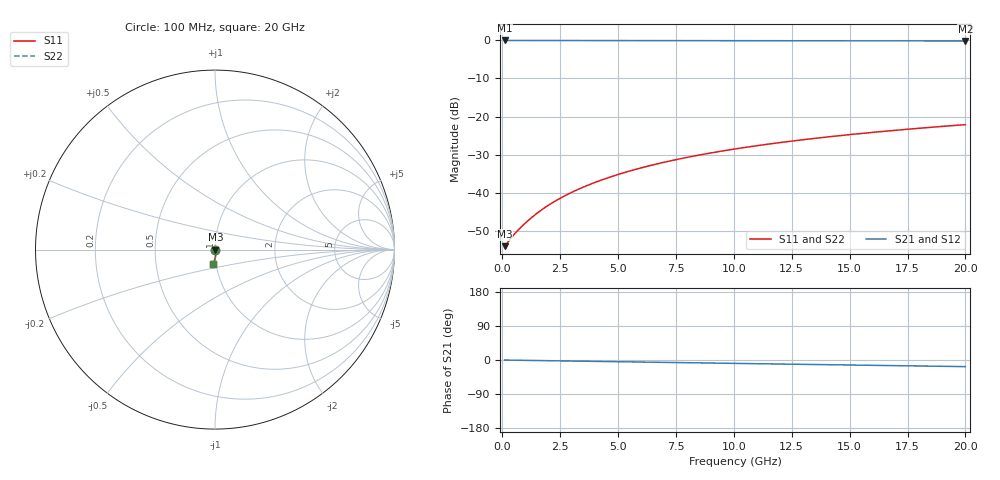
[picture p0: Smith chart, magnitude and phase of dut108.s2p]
! Touchstone file exported from HFSS 2026.1.0
!  File:  C:/ffzhzh/LocalFiles/Ansys_Project_Files/temp_train_TMRDL_108_1782982393_40604.aedt
!  Generated:  04:54:18 PM Jul  2, 2026
!  Design:  TMRDL
!  Project:  temp_train_TMRDL_108_1782982393_40604
! Variables:
!  h_bsmrdl = 2um
!  h_ox = 20um
!  h_rdl = 5um
!  h_sub = 80um
!  h_tmrdl = 5.53um
!  h_tsv = 80um
!  h_via = 3um
!  l_bsmrdl = 300um
!  l_sub = 705.95um
!  l_tmrdl = 305.95um
!  m_sub = 200um
!  pitch = 12.91um
!  r_tsv = 6um
!  s_tmrdl = 10um
!  w_bsmrdl = 18um
!  w_sub = 500um
!  w_tmrdl = 10.56um
!  x_tsv_center1 = 311.23um
!  x_tsv_center2 = 629.23um
!  x_tsv_center3 = 945.74um
!  x_tsv_center4 = 1263.74um
!  x_tsv_center5 = 1580.25um
!  x_tsv_center6 = 1898.25um
# GHz S MA R 50.000000
! Terminal data exported
! Port[1] = TM_RDL1_1_T1
! Port[2] = TM_RDL1_1_T2
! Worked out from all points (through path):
!   200 points, 100 MHz to 20 GHz, reference 50 ohm
!   highest |S21| = -0.02 dB at 100 MHz (marker M1); lowest = -0.1 dB at 20 GHz (marker M2)
!   group delay of S21, straight-line fit = 2.41 ps
!   lowest |S11| = -54.1 dB at 100 MHz (marker M3), VSWR 1.00, Z = 50.2 - j0.00285 ohm
!   |S11| at or under -10 dB: start of sweep to end of sweep
!   |S22| runs from -54.1 to -22.1 dB; largest |S21 - S12| = 5.2e-15
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0.1  0.00198 -0.8  0.998 -0.1  0.998 -0.1  0.00198 -0.8
! Gamma 0 0 0 0
! Port Impedance 50 0 50 0
0.5  0.002804 -19.5  0.9973 -0.5  0.9973 -0.5  0.002804 -19.5
0.8  0.003497 -33.9  0.9971 -0.8  0.9971 -0.8  0.003497 -33.9
1.2  0.004522 -46.7  0.9968 -1.1  0.9968 -1.1  0.004522 -46.7
1.6  0.005648 -54.8  0.9966 -1.5  0.9966 -1.5  0.005648 -54.8
2  0.006851 -60.2  0.9964 -1.9  0.9964 -1.9  0.00685 -60.2
2.5  0.008436 -64.7  0.9961 -2.3  0.9961 -2.3  0.008435 -64.7
3  0.0101 -67.9  0.9957 -2.8  0.9957 -2.8  0.0101 -67.9
3.5  0.01182 -70.3  0.9953 -3.2  0.9953 -3.2  0.01182 -70.3
4.2  0.01433 -72.9  0.9948 -3.9  0.9948 -3.9  0.01433 -72.9
5  0.01731 -75.2  0.9941 -4.6  0.9941 -4.6  0.01731 -75.2
5.9  0.02077 -77.3  0.9934 -5.4  0.9934 -5.4  0.02077 -77.3
6.8  0.02432 -79.3  0.9926 -6.1  0.9926 -6.1  0.02432 -79.3
7.5  0.02712 -80.6  0.9921 -6.8  0.9921 -6.8  0.02712 -80.6
8.3  0.03035 -82.1  0.9915 -7.5  0.9915 -7.5  0.03035 -82.1
9.2  0.03401 -83.6  0.9908 -8.2  0.9908 -8.2  0.03401 -83.6
10.1  0.03769 -85.1  0.9902 -9.0  0.9902 -9.0  0.03769 -85.1
11.7  0.04426 -87.5  0.9891 -10.4  0.9891 -10.4  0.04426 -87.5
13.4  0.05125 -89.8  0.988 -11.8  0.988 -11.8  0.05125 -89.8
15  0.05782 -91.9  0.9869 -13.2  0.9869 -13.2  0.05781 -91.9
16.7  0.06478 -94.0  0.9857 -14.7  0.9857 -14.7  0.06477 -94.0
20  0.07819 -97.7  0.9835 -17.5  0.9835 -17.5  0.07819 -97.7
